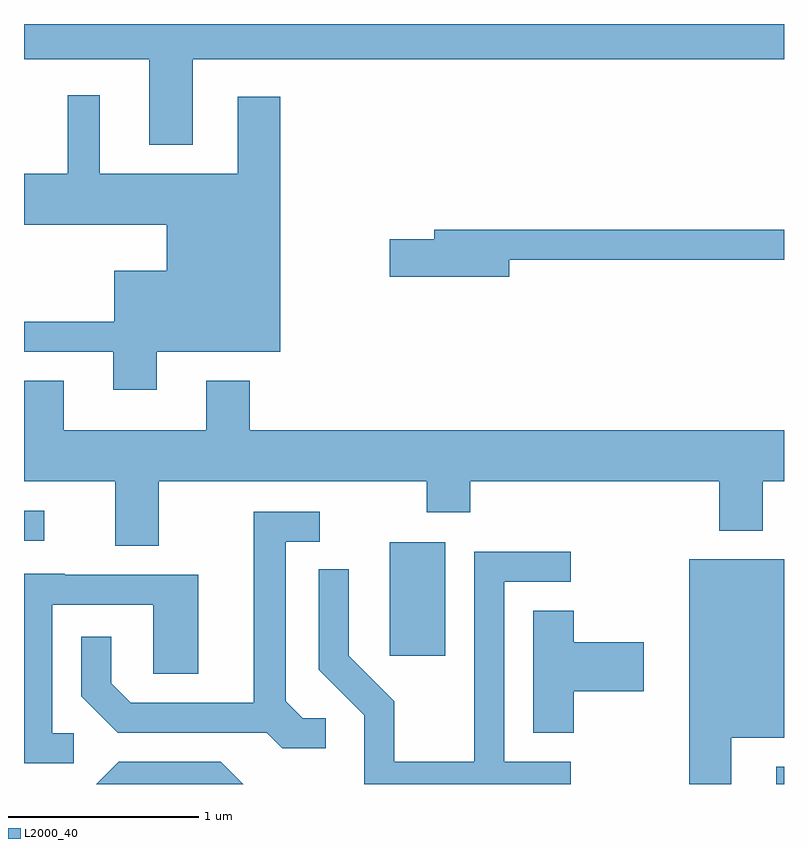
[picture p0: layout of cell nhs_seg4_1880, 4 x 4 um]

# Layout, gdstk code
import gdstk
lib = gdstk.Library(unit=1e-6, precision=1e-09)
def R(c, l, rs):  # rectangles x0, y0, x1, y1
    for r in rs: c.add(gdstk.rectangle(r[:2], r[2:], *l))
def P(c, l, *ps):  # polygons
    for p in ps: c.add(gdstk.Polygon(p, *l))
L2000_40 = (2000, 40)

nhs_seg4_1880 = lib.new_cell('nhs_seg4_1880')
R(nhs_seg4_1880, L2000_40, [(243.571,1341.982,243.611,1342.074), (241.536,1342.656,241.829,1343.254), (239.611,1343.261,239.718,1343.419)])
P(nhs_seg4_1880, L2000_40, [(240.499,1345.796),(243.611,1345.796),(243.611,1345.982),(239.611,1345.982),(239.611,1345.796),(240.271,1345.796),(240.271,1345.346),(240.499,1345.346)],
  [(240.309,1344.256),(240.959,1344.256),(240.959,1345.599),(240.736,1345.599),(240.736,1345.194),(240.009,1345.194),(240.009,1345.608),(239.841,1345.608),(239.841,1345.194),(239.611,1345.194),(239.611,1344.926),(240.361,1344.926),(240.361,1344.684),(240.086,1344.684),(240.086,1344.414),(239.611,1344.414),(239.611,1344.256),(240.081,1344.256),(240.081,1344.056),(240.309,1344.056)],
  [(242.164,1344.741),(243.611,1344.741),(243.611,1344.899),(241.771,1344.899),(241.771,1344.849),(241.536,1344.849),(241.536,1344.651),(242.164,1344.651)],
  [(240.799,1344.104),(240.571,1344.104),(240.571,1343.844),(239.819,1343.844),(239.819,1344.104),(239.611,1344.104),(239.611,1343.576),(240.091,1343.576),(240.091,1343.236),(240.319,1343.236),(240.319,1343.576),(241.731,1343.576),(241.731,1343.411),(241.959,1343.411),(241.959,1343.576),(243.271,1343.576),(243.271,1343.316),(243.499,1343.316),(243.499,1343.576),(243.611,1343.576),(243.611,1343.844),(240.799,1343.844)],
  [(241.198,1342.329),(241.077,1342.329),(240.989,1342.417),(240.989,1343.256),(241.168,1343.256),(241.168,1343.414),(240.821,1343.414),(240.821,1342.409),(240.172,1342.409),(240.069,1342.512),(240.069,1342.758),(239.911,1342.758),(239.911,1342.444),(240.104,1342.251),(240.889,1342.251),(240.969,1342.171),(241.198,1342.171)],
  [(242.488,1342.099),(242.139,1342.099),(242.139,1343.046),(242.488,1343.046),(242.488,1343.204),(241.981,1343.204),(241.981,1342.099),(241.559,1342.099),(241.559,1342.417),(241.319,1342.657),(241.319,1343.113),(241.161,1343.113),(241.161,1342.584),(241.401,1342.344),(241.401,1341.982),(242.488,1341.982)],
  [(243.334,1342.226),(243.611,1342.226),(243.611,1343.164),(243.111,1343.164),(243.111,1341.982),(243.334,1341.982)],
  [(239.873,1342.249),(239.759,1342.249),(239.759,1342.926),(240.291,1342.926),(240.291,1342.561),(240.529,1342.561),(240.529,1343.084),(239.825,1343.084),(239.825,1343.089),(239.611,1343.089),(239.611,1342.091),(239.873,1342.091)],
  [(242.504,1342.471),(242.874,1342.471),(242.874,1342.729),(242.504,1342.729),(242.504,1342.894),(242.291,1342.894),(242.291,1342.251),(242.504,1342.251)],
  [(240.647,1342.099),(240.109,1342.099),(239.992,1341.982),(240.764,1341.982)])

lib.write_gds('nhs_seg4_1880.gds')
